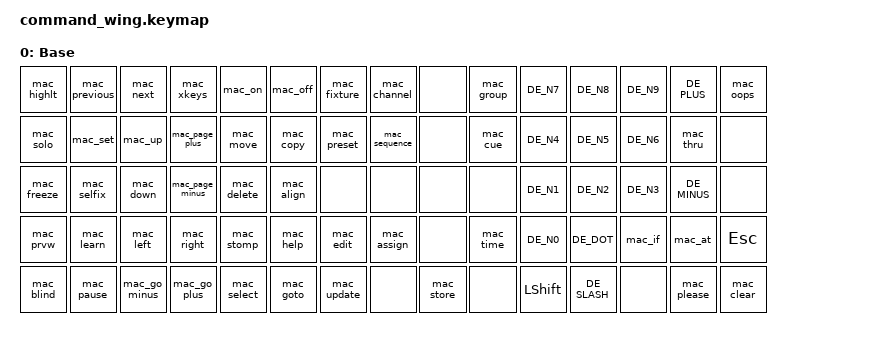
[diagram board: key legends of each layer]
#include <behaviors.dtsi>
#include <dt-bindings/zmk/keys.h>
#include "keys_de.h"

/ {
    macros {
        mac_highlt: mac_highlt {
            compatible = "zmk,behavior-macro";
            #binding-cells = <0>;
            bindings = <&macro_press &kp LALT>, <&macro_tap &kp DE_H>, <&macro_release &kp LALT>; 
        };
        mac_solo: mac_solo {
            compatible = "zmk,behavior-macro";
            #binding-cells = <0>;
            bindings = <&macro_press &kp LALT>, <&macro_tap &kp DE_S>, <&macro_release &kp LALT>; 
        };
        mac_freeze: mac_freeze {
            compatible = "zmk,behavior-macro";
            #binding-cells = <0>;
            bindings = <&macro_press &kp LALT>, <&macro_tap &kp DE_F>, <&macro_release &kp LALT>;
        };
        mac_prvw: mac_prvw {
            compatible = "zmk,behavior-macro";
            #binding-cells = <0>;
            bindings = <&macro_press &kp LALT>, <&macro_tap &kp DE_P>, <&macro_release &kp LALT>;
        };
        mac_blind: mac_blind {
            compatible = "zmk,behavior-macro";
            #binding-cells = <0>;
            bindings = <&macro_press &kp LALT>, <&macro_tap &kp DE_B>, <&macro_release &kp LALT>;
        };

        mac_previous: mac_previous {
            compatible = "zmk,behavior-macro";
            #binding-cells = <0>;
            bindings = <&macro_press &kp LCTRL &kp LALT>, <&macro_tap &kp DE_P>, <&macro_release &kp LCTRL &kp LALT>;
        };
        mac_set: mac_set {
            compatible = "zmk,behavior-macro";
            #binding-cells = <0>;
            bindings = <&macro_press &kp LCTRL &kp LALT>, <&macro_tap &kp DE_S>, <&macro_release &kp LCTRL &kp LALT>;
        };
        mac_selfix: mac_selfix {
            compatible = "zmk,behavior-macro";
            #binding-cells = <0>;
            bindings = <&macro_press &kp LCTRL &kp LALT>, <&macro_tap &kp DE_F>, <&macro_release &kp LCTRL &kp LALT>;
        };
        mac_learn: mac_learn {
            compatible = "zmk,behavior-macro";
            #binding-cells = <0>;
            bindings = <&macro_press &kp LALT>, <&macro_tap &kp DE_L>, <&macro_release &kp LALT>;
        };
        mac_pause: mac_pause {
            compatible = "zmk,behavior-macro";
            #binding-cells = <0>;
            bindings = <&macro_press &kp LCTRL &kp LALT>, <&macro_tap &kp DE_A>, <&macro_release &kp LCTRL &kp LALT>;
        };
        mac_next: mac_next {
            compatible = "zmk,behavior-macro";
            #binding-cells = <0>;
            bindings = <&macro_press &kp LALT>, <&macro_tap &kp DE_N>, <&macro_release &kp LALT>;
        };
        mac_up: mac_up {
            compatible = "zmk,behavior-macro";
            #binding-cells = <0>;
            bindings = <&macro_press &kp LALT>, <&macro_tap &kp UP_ARROW>, <&macro_release &kp LALT>;
        };
        mac_down: mac_down {
            compatible = "zmk,behavior-macro";
            #binding-cells = <0>;
            bindings = <&macro_press &kp LALT>, <&macro_tap &kp DOWN_ARROW>, <&macro_release &kp LALT>;
        };
        mac_left: mac_left {
            compatible = "zmk,behavior-macro";
            #binding-cells = <0>;
            bindings = <&macro_press &kp LALT>, <&macro_tap &kp LEFT_ARROW>, <&macro_release &kp LALT>;
        };
        mac_go_minus: mac_go_minus {
            compatible = "zmk,behavior-macro";
            #binding-cells = <0>;
            bindings = <&macro_press &kp LALT>, <&macro_tap &kp DE_MINUS>, <&macro_release &kp LALT>; 
        };
        mac_xkeys: mac_xkeys {
            compatible = "zmk,behavior-macro";
            #binding-cells = <0>;
            bindings = <&macro_press &kp LALT>, <&macro_tap &kp DE_X>, <&macro_release &kp LALT>;
        };
        mac_page_plus: mac_page_plus {
            compatible = "zmk,behavior-macro";
            #binding-cells = <0>;
            bindings = <&macro_press &kp LCTRL &kp LALT>, <&macro_tap &kp DE_PLUS>, <&macro_release &kp LCTRL &kp LALT>;
        };
        mac_page_minus: mac_page_minus {
            compatible = "zmk,behavior-macro";
            #binding-cells = <0>;
            bindings = <&macro_press &kp LCTRL &kp LALT>, <&macro_tap &kp DE_MINUS>, <&macro_release &kp LCTRL &kp LALT>;
        };
        mac_right: mac_right {
            compatible = "zmk,behavior-macro";
            #binding-cells = <0>;
            bindings = <&macro_press &kp LALT>, <&macro_tap &kp RIGHT_ARROW>, <&macro_release &kp LALT>;
        };
        mac_go_plus: mac_go_plus {
            compatible = "zmk,behavior-macro";
            #binding-cells = <0>;
            bindings = <&macro_press &kp LALT>, <&macro_tap &kp DE_PLUS>, <&macro_release &kp LALT>; 
        };

        mac_on: mac_on {
            compatible = "zmk,behavior-macro";
            #binding-cells = <0>;
            bindings = <&macro_press &kp LALT>, <&macro_tap &kp DE_O>, <&macro_release &kp LALT>;
        };
        mac_move: mac_move {
            compatible = "zmk,behavior-macro";
            #binding-cells = <0>;
            bindings = <&macro_press &kp LALT>, <&macro_tap &kp DE_M>, <&macro_release &kp LALT>;
        };
        mac_delete: mac_delete {
            compatible = "zmk,behavior-macro";
            #binding-cells = <0>;
            bindings = <&macro_press &kp LALT>, <&macro_tap &kp DE_D>, <&macro_release &kp LALT>;
        };
        mac_stomp: mac_stomp {
            compatible = "zmk,behavior-macro";
            #binding-cells = <0>;
            bindings = <&macro_press &kp LALT>, <&macro_tap &kp DE_T>, <&macro_release &kp LALT>;
        };
        mac_select: mac_select {
            compatible = "zmk,behavior-macro";
            #binding-cells = <0>;
            bindings = <&macro_press &kp LALT>, <&macro_tap &kp DE_Z>, <&macro_release &kp LALT>;
        };
        mac_off: mac_off {
            compatible = "zmk,behavior-macro";
            #binding-cells = <0>;
            bindings = <&macro_press &kp LCTRL &kp LALT>, <&macro_tap &kp DE_O>, <&macro_release &kp LCTRL &kp LALT>;
        };
        mac_copy: mac_copy {
            compatible = "zmk,behavior-macro";
            #binding-cells = <0>;
            bindings = <&macro_press &kp LALT>, <&macro_tap &kp DE_C>, <&macro_release &kp LALT>;
        };
        mac_align: mac_align {
            compatible = "zmk,behavior-macro";
            #binding-cells = <0>;
            bindings = <&macro_press &kp LCTRL &kp LALT>, <&macro_tap &kp DE_L>, <&macro_release &kp LCTRL &kp LALT>;
        };
        mac_help: mac_help {
            compatible = "zmk,behavior-macro";
            #binding-cells = <0>;
            bindings = <&macro_press &kp LCTRL &kp LALT>, <&macro_tap &kp DE_H>, <&macro_release &kp LCTRL &kp LALT>;
        };
        mac_goto: mac_goto {
            compatible = "zmk,behavior-macro";
            #binding-cells = <0>;
            bindings = <&macro_press &kp LALT>, <&macro_tap &kp DE_G>, <&macro_release &kp LALT>;
        };

        mac_fixture: mac_fixture {
            compatible = "zmk,behavior-macro";
            #binding-cells = <0>;
            bindings = <&macro_press &kp LALT>, <&macro_tap &kp DE_N1>, <&macro_release &kp LALT>;
        };
        mac_preset: mac_preset {
            compatible = "zmk,behavior-macro";
            #binding-cells = <0>;
            bindings = <&macro_press &kp LALT>, <&macro_tap &kp DE_N2>, <&macro_release &kp LALT>;
        };
        mac_edit: mac_edit {
            compatible = "zmk,behavior-macro";
            #binding-cells = <0>;
            bindings = <&macro_press &kp LALT>, <&macro_tap &kp DE_N3>, <&macro_release &kp LALT>;
        };
        mac_update: mac_update {
            compatible = "zmk,behavior-macro";
            #binding-cells = <0>;
            bindings = <&macro_press &kp LALT>, <&macro_tap &kp DE_U>, <&macro_release &kp LALT>;
        };
        mac_channel: mac_channel {
            compatible = "zmk,behavior-macro";
            #binding-cells = <0>;
            bindings = <&macro_press &kp LALT>, <&macro_tap &kp DE_N4>, <&macro_release &kp LALT>;
        };
        mac_sequence: mac_sequence {
            compatible = "zmk,behavior-macro";
            #binding-cells = <0>;
            bindings = <&macro_press &kp LALT>, <&macro_tap &kp DE_N5>, <&macro_release &kp LALT>;
        };
        mac_assign: mac_assign {
            compatible = "zmk,behavior-macro";
            #binding-cells = <0>;
            bindings = <&macro_press &kp LALT>, <&macro_tap &kp DE_N6>, <&macro_release &kp LALT>;
        };
        mac_group: mac_group {
            compatible = "zmk,behavior-macro";
            #binding-cells = <0>;
            bindings = <&macro_press &kp LALT>, <&macro_tap &kp DE_N7>, <&macro_release &kp LALT>;
        };
        mac_cue: mac_cue {
            compatible = "zmk,behavior-macro";
            #binding-cells = <0>;
            bindings = <&macro_press &kp LALT>, <&macro_tap &kp DE_N8>, <&macro_release &kp LALT>;
        };
        mac_time: mac_time {
            compatible = "zmk,behavior-macro";
            #binding-cells = <0>;
            bindings = <&macro_press &kp LALT>, <&macro_tap &kp DE_N9>, <&macro_release &kp LALT>;
        };
        mac_store: mac_store {
            compatible = "zmk,behavior-macro";
            #binding-cells = <0>;
            bindings = <&macro_press &kp LALT>, <&macro_tap &kp DE_V>, <&macro_release &kp LALT>;
        };

        mac_if: mac_if {
            compatible = "zmk,behavior-macro";
            #binding-cells = <0>;
            bindings = <&macro_press &kp LALT>, <&macro_tap &kp DE_I>, <&macro_release &kp LALT>;
        };
        mac_thru: mac_thru {
            compatible = "zmk,behavior-macro";
            #binding-cells = <0>;
            bindings = <&macro_press &kp LCTRL &kp LALT>, <&macro_tap &kp DE_T>, <&macro_release &kp LCTRL &kp LALT>;
        };
        mac_at: mac_at {
            compatible = "zmk,behavior-macro";
            #binding-cells = <0>;
            bindings = <&macro_press &kp LALT>, <&macro_tap &kp DE_A>, <&macro_release &kp LALT>;
        };
        mac_please: mac_please {
            compatible = "zmk,behavior-macro";
            #binding-cells = <0>;
            bindings = <&macro_press &kp LALT>, <&macro_tap &kp DE_E>, <&macro_release &kp LALT>;
        };

        mac_oops: mac_oops {
            compatible = "zmk,behavior-macro";
            #binding-cells = <0>;
            bindings = <&macro_press &kp LALT>, <&macro_tap &kp DE_W>, <&macro_release &kp LALT>;
        };
        mac_clear: mac_clear {
            compatible = "zmk,behavior-macro";
            #binding-cells = <0>;
            bindings = <&macro_press &kp LALT>, <&macro_tap &kp DE_J>, <&macro_release &kp LALT>;
        };
    };

    keymap {
        compatible = "zmk,keymap";

        default_layer {
            display-name = "Base";

            bindings = <
                &mac_highlt   &mac_previous &mac_next     &mac_xkeys        &mac_on     &mac_off      &mac_fixture &mac_channel  &none         &mac_group   &kp DE_N7    &kp DE_N8    &kp DE_N9 &kp DE_PLUS  &mac_oops
                &mac_solo     &mac_set      &mac_up       &mac_page_plus    &mac_move   &mac_copy     &mac_preset  &mac_sequence &none         &mac_cue     &kp DE_N4    &kp DE_N5    &kp DE_N6 &mac_thru    &none
                &mac_freeze   &mac_selfix   &mac_down     &mac_page_minus   &mac_delete &mac_align    &none        &none         &none         &none        &kp DE_N1    &kp DE_N2    &kp DE_N3 &kp DE_MINUS &none
                &mac_prvw     &mac_learn    &mac_left     &mac_right        &mac_stomp  &mac_help     &mac_edit    &mac_assign   &none         &mac_time    &kp DE_N0    &kp DE_DOT   &mac_if   &mac_at      &kp ESC
                &mac_blind    &mac_pause    &mac_go_minus &mac_go_plus      &mac_select &mac_goto     &mac_update  &none         &mac_store    &none        &kp LEFT_SHIFT  &kp DE_SLASH &none     &mac_please  &mac_clear
            >;
        };
    };
};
